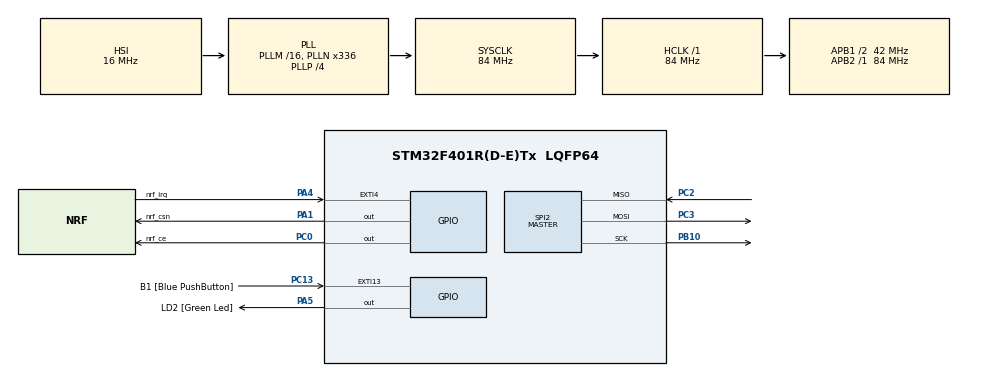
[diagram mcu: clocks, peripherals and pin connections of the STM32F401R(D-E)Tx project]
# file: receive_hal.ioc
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Mcu.Family=STM32F4
Mcu.Name=STM32F401R(D-E)Tx
Mcu.Package=LQFP64
NVIC.EXTI4_IRQn=true\:0\:0\:false\:false\:true\:true\:true\:true
NVIC.PriorityGroup=NVIC_PRIORITYGROUP_0
PA1.GPIO_Label=nrf_csn
PA1.Signal=GPIO_Output
PA13.GPIO_Label=TMS
PA13.Signal=SYS_JTMS-SWDIO
PA14.GPIO_Label=TCK
PA14.Signal=SYS_JTCK-SWCLK
PA2.GPIO_Label=USART_TX
PA2.GPIO_Mode=GPIO_MODE_AF_PP
PA2.GPIO_PuPd=GPIO_NOPULL
PA2.GPIO_Speed=GPIO_SPEED_FREQ_LOW
PA2.Signal=USART2_TX
PA3.GPIO_Label=USART_RX
PA3.GPIO_Mode=GPIO_MODE_AF_PP
PA3.GPIO_PuPd=GPIO_NOPULL
PA3.GPIO_Speed=GPIO_SPEED_FREQ_LOW
PA3.Signal=USART2_RX
PA4.GPIO_Label=nrf_irq
PA4.Signal=GPXTI4
PA5.GPIO_Label=LD2 [Green Led]
PA5.GPIO_Mode=GPIO_MODE_OUTPUT_PP
PA5.GPIO_PuPd=GPIO_NOPULL
PA5.GPIO_Speed=GPIO_SPEED_FREQ_LOW
PA5.Signal=GPIO_Output
PB10.Mode=Full_Duplex_Master
PB10.Signal=SPI2_SCK
PB3.GPIO_Label=SWO
PB3.Signal=SYS_JTDO-SWO
PC0.GPIO_Label=nrf_ce
PC0.GPIO_Speed=GPIO_SPEED_FREQ_VERY_HIGH
PC0.Signal=GPIO_Output
PC13-ANTI_TAMP.GPIO_Label=B1 [Blue PushButton]
PC13-ANTI_TAMP.GPIO_ModeDefaultEXTI=GPIO_MODE_IT_FALLING
PC13-ANTI_TAMP.GPIO_PuPd=GPIO_NOPULL
PC13-ANTI_TAMP.Signal=GPXTI13
PC14-OSC32_IN.Signal=RCC_OSC32_IN
PC15-OSC32_OUT.Signal=RCC_OSC32_OUT
PC2.Mode=Full_Duplex_Master
PC2.Signal=SPI2_MISO
PC3.Mode=Full_Duplex_Master
PC3.Signal=SPI2_MOSI
PH0\ -\ OSC_IN.Signal=RCC_OSC_IN
PH1\ -\ OSC_OUT.Signal=RCC_OSC_OUT
ProjectManager.HeapSize=0x200
ProjectManager.StackSize=0x400
ProjectManager.TargetToolchain=STM32CubeIDE
RCC.AHBFreq_Value=84000000
RCC.APB1CLKDivider=RCC_HCLK_DIV2
RCC.APB1Freq_Value=42000000
RCC.APB1TimFreq_Value=84000000
RCC.APB2Freq_Value=84000000
RCC.APB2TimFreq_Value=84000000
RCC.CortexFreq_Value=84000000
RCC.HCLKFreq_Value=84000000
RCC.HSE_VALUE=8000000
RCC.HSI_VALUE=16000000
RCC.LSE_VALUE=32768
RCC.PLLN=336
RCC.PLLP=RCC_PLLP_DIV4
RCC.PLLQ=7
RCC.SYSCLKFreq_VALUE=84000000
RCC.SYSCLKSource=RCC_SYSCLKSOURCE_PLLCLK
RCC.VCOOutputFreq_Value=336000000
SPI2.BaudRatePrescaler=SPI_BAUDRATEPRESCALER_16
SPI2.Direction=SPI_DIRECTION_2LINES
SPI2.Mode=SPI_MODE_MASTER
SPI2.VirtualType=VM_MASTER
board=NUCLEO-F401RE

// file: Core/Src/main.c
/* USER CODE BEGIN Header */
/**
  ******************************************************************************
  * @file           : main.c
  * @brief          : Main program body
  ******************************************************************************
  * @attention
  *
  * Copyright (c) 2024 STMicroelectronics.
  * All rights reserved.
  *
  * This software is licensed under terms that can be found in the LICENSE file
  * in the root directory of this software component.
  * If no LICENSE file comes with this software, it is provided AS-IS.
  *
  ******************************************************************************
  */
/* USER CODE END Header */
#include "main.h"

/* USER CODE BEGIN Includes */
#include <stdio.h>
#include "nrf24l01.h"
/* USER CODE END Includes */

/* USER CODE BEGIN PD */
#define RECEIVER

/* USER CODE END PD */

SPI_HandleTypeDef hspi2;

/* USER CODE BEGIN PV */

int __io_putchar(int ch){
	return ITM_SendChar(ch) ;
}

/* USER CODE END PV */

void SystemClock_Config(void);
static void MX_GPIO_Init(void);
static void MX_SPI2_Init(void);
/* USER CODE BEGIN PFP */

char msg[50] = {0};

uint8_t RxNumber = 10;

uint16_t RxBuffer[NRF24L01_PAYLOAD_LENGTH /2] = { 0};

uint8_t Transmitter_Rx_flag = 0 ;

uint16_t throttle = 0, yaw = 0, pitch = 0, roll = 0;

void HAL_GPIO_EXTI_Callback(uint16_t GPIO_Pin) {
	if(GPIO_Pin == NRF24L01_IRQ_GPIO_PIN)
	{
		Transmitter_Rx_flag =1;
		NRF24L01_RxReceive((uint8_t *)RxBuffer, &RxNumber, 2000);

	}
}

/* USER CODE END PFP */

int main(void)
{

  /* MCU Configuration--------------------------------------------------------*/

  /* Reset of all peripherals, Initializes the Flash interface and the Systick. */
  HAL_Init();

  /* Configure the system clock */
  SystemClock_Config();

  /* Initialize all configured peripherals */
  MX_GPIO_Init();
  MX_SPI2_Init();
  /* USER CODE BEGIN 2 */

	uint8_t RxAddress0[5] = {0x78, 0x78, 0x78, 0x78, 0x78};
	uint8_t RxAddress1[5] = {0xB3, 0xB4, 0xB5, 0xB6, 0xCD};
	uint8_t RxAddress2 = 0xF3;
	uint8_t RxAddress3 = 0xF2;
	uint8_t RxAddress4 = 0xF4;
	uint8_t RxAddress5 = 0xF1;

	NRF24L01_RxInit(100, NRF24L01_DATA_RATE_1MBPS, 2000);

	NRF24L01_SetRxAddress(NRF24L01_RX_ADDRESS_P0, RxAddress0, 2000);
	NRF24L01_SetRxAddress(NRF24L01_RX_ADDRESS_P1, RxAddress1, 2000);
	NRF24L01_SetRxAddress(NRF24L01_RX_ADDRESS_P2, &RxAddress2, 2000);
	NRF24L01_SetRxAddress(NRF24L01_RX_ADDRESS_P3, &RxAddress3, 2000);
	NRF24L01_SetRxAddress(NRF24L01_RX_ADDRESS_P4, &RxAddress4, 2000);
	NRF24L01_SetRxAddress(NRF24L01_RX_ADDRESS_P5, &RxAddress5, 2000);

  /* USER CODE END 2 */

  /* Infinite loop */
  /* USER CODE BEGIN WHILE */
  while (1)
  {

	  if (Transmitter_Rx_flag == 1) {
		  throttle = RxBuffer[0] ;
		  roll = RxBuffer[1] ;
		  yaw = RxBuffer[2] ;
		  pitch = RxBuffer[3] ;
		  Transmitter_Rx_flag = 0;

	}
	  printf("throttle %d  , yaw %d  , pitch %d  , roll %d   \n"  , throttle , yaw , pitch , roll ) ;

    /* USER CODE END WHILE */

  }
}

void SystemClock_Config(void)
{
  RCC_OscInitTypeDef RCC_OscInitStruct = {0};
  RCC_ClkInitTypeDef RCC_ClkInitStruct = {0};

  /** Configure the main internal regulator output voltage
  */
  __HAL_RCC_PWR_CLK_ENABLE();
  __HAL_PWR_VOLTAGESCALING_CONFIG(PWR_REGULATOR_VOLTAGE_SCALE2);

  /** Initializes the RCC Oscillators according to the specified parameters
  * in the RCC_OscInitTypeDef structure.
  */
  RCC_OscInitStruct.OscillatorType = RCC_OSCILLATORTYPE_HSI;
  RCC_OscInitStruct.HSIState = RCC_HSI_ON;
  RCC_OscInitStruct.HSICalibrationValue = RCC_HSICALIBRATION_DEFAULT;
  RCC_OscInitStruct.PLL.PLLState = RCC_PLL_ON;
  RCC_OscInitStruct.PLL.PLLSource = RCC_PLLSOURCE_HSI;
  RCC_OscInitStruct.PLL.PLLM = 16;
  RCC_OscInitStruct.PLL.PLLN = 336;
  RCC_OscInitStruct.PLL.PLLP = RCC_PLLP_DIV4;
  RCC_OscInitStruct.PLL.PLLQ = 7;
  if (HAL_RCC_OscConfig(&RCC_OscInitStruct) != HAL_OK)
  {
    Error_Handler();
  }

  /** Initializes the CPU, AHB and APB buses clocks
  */
  RCC_ClkInitStruct.ClockType = RCC_CLOCKTYPE_HCLK|RCC_CLOCKTYPE_SYSCLK
                              |RCC_CLOCKTYPE_PCLK1|RCC_CLOCKTYPE_PCLK2;
  RCC_ClkInitStruct.SYSCLKSource = RCC_SYSCLKSOURCE_PLLCLK;
  RCC_ClkInitStruct.AHBCLKDivider = RCC_SYSCLK_DIV1;
  RCC_ClkInitStruct.APB1CLKDivider = RCC_HCLK_DIV2;
  RCC_ClkInitStruct.APB2CLKDivider = RCC_HCLK_DIV1;

  if (HAL_RCC_ClockConfig(&RCC_ClkInitStruct, FLASH_LATENCY_2) != HAL_OK)
  {
    Error_Handler();
  }
}

static void MX_SPI2_Init(void)
{

  /* SPI2 parameter configuration*/
  hspi2.Instance = SPI2;
  hspi2.Init.Mode = SPI_MODE_MASTER;
  hspi2.Init.Direction = SPI_DIRECTION_2LINES;
  hspi2.Init.DataSize = SPI_DATASIZE_8BIT;
  hspi2.Init.CLKPolarity = SPI_POLARITY_LOW;
  hspi2.Init.CLKPhase = SPI_PHASE_1EDGE;
  hspi2.Init.NSS = SPI_NSS_SOFT;
  hspi2.Init.BaudRatePrescaler = SPI_BAUDRATEPRESCALER_16;
  hspi2.Init.FirstBit = SPI_FIRSTBIT_MSB;
  hspi2.Init.TIMode = SPI_TIMODE_DISABLE;
  hspi2.Init.CRCCalculation = SPI_CRCCALCULATION_DISABLE;
  hspi2.Init.CRCPolynomial = 10;
  if (HAL_SPI_Init(&hspi2) != HAL_OK)
  {
    Error_Handler();
  }

}

static void MX_GPIO_Init(void)
{
  GPIO_InitTypeDef GPIO_InitStruct = {0};

  /* GPIO Ports Clock Enable */
  __HAL_RCC_GPIOC_CLK_ENABLE();
  __HAL_RCC_GPIOH_CLK_ENABLE();
  __HAL_RCC_GPIOA_CLK_ENABLE();
  __HAL_RCC_GPIOB_CLK_ENABLE();

  /*Configure GPIO pin Output Level */
  HAL_GPIO_WritePin(nrf_ce_GPIO_Port, nrf_ce_Pin, GPIO_PIN_RESET);

  /*Configure GPIO pin Output Level */
  HAL_GPIO_WritePin(GPIOA, nrf_csn_Pin|LD2_Pin, GPIO_PIN_RESET);

  /*Configure GPIO pin : B1_Pin */
  GPIO_InitStruct.Pin = B1_Pin;
  GPIO_InitStruct.Mode = GPIO_MODE_IT_FALLING;
  GPIO_InitStruct.Pull = GPIO_NOPULL;
  HAL_GPIO_Init(B1_GPIO_Port, &GPIO_InitStruct);

  /*Configure GPIO pin : nrf_ce_Pin */
  GPIO_InitStruct.Pin = nrf_ce_Pin;
  GPIO_InitStruct.Mode = GPIO_MODE_OUTPUT_PP;
  GPIO_InitStruct.Pull = GPIO_NOPULL;
  GPIO_InitStruct.Speed = GPIO_SPEED_FREQ_VERY_HIGH;
  HAL_GPIO_Init(nrf_ce_GPIO_Port, &GPIO_InitStruct);

  /*Configure GPIO pins : nrf_csn_Pin LD2_Pin */
  GPIO_InitStruct.Pin = nrf_csn_Pin|LD2_Pin;
  GPIO_InitStruct.Mode = GPIO_MODE_OUTPUT_PP;
  GPIO_InitStruct.Pull = GPIO_NOPULL;
  GPIO_InitStruct.Speed = GPIO_SPEED_FREQ_LOW;
  HAL_GPIO_Init(GPIOA, &GPIO_InitStruct);

  /*Configure GPIO pins : USART_TX_Pin USART_RX_Pin */
  GPIO_InitStruct.Pin = USART_TX_Pin|USART_RX_Pin;
  GPIO_InitStruct.Mode = GPIO_MODE_AF_PP;
  GPIO_InitStruct.Pull = GPIO_NOPULL;
  GPIO_InitStruct.Speed = GPIO_SPEED_FREQ_LOW;
  GPIO_InitStruct.Alternate = GPIO_AF7_USART2;
  HAL_GPIO_Init(GPIOA, &GPIO_InitStruct);

  /*Configure GPIO pin : nrf_irq_Pin */
  GPIO_InitStruct.Pin = nrf_irq_Pin;
  GPIO_InitStruct.Mode = GPIO_MODE_IT_FALLING;
  GPIO_InitStruct.Pull = GPIO_NOPULL;
  HAL_GPIO_Init(nrf_irq_GPIO_Port, &GPIO_InitStruct);

  /* EXTI interrupt init*/
  HAL_NVIC_SetPriority(EXTI4_IRQn, 0, 0);
  HAL_NVIC_EnableIRQ(EXTI4_IRQn);

}

void Error_Handler(void)
{
  __disable_irq();
  while (1)
  {
  }
}
